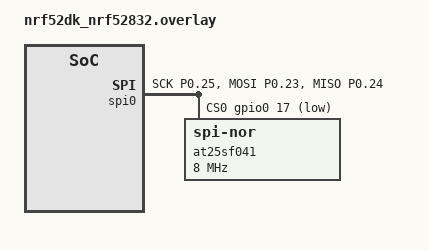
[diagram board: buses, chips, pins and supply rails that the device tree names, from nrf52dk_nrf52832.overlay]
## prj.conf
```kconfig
CONFIG_SERIAL=y
CONFIG_PRINTK=y
CONFIG_SPI=y
CONFIG_FLASH=y
CONFIG_FLASH_PAGE_LAYOUT=y
CONFIG_FLASH_MAP=y
CONFIG_SPI_NOR=y
CONFIG_SPI_NOR_FLASH_LAYOUT_PAGE_SIZE=4096
CONFIG_SOC_NRF52832_ALLOW_SPIM_DESPITE_PAN_58=y
# Debug configurations
CONFIG_SPI_LOG_LEVEL_DBG=y
CONFIG_FLASH_LOG_LEVEL_DBG=y
```

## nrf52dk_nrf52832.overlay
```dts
&pinctrl {
    spi0_default: spi0_default {
        group1 {
            psels = <NRF_PSEL(SPIM_SCK, 0, 25)>,
                    <NRF_PSEL(SPIM_MOSI, 0, 23)>,
                    <NRF_PSEL(SPIM_MISO, 0, 24)>;
        };
    };

    spi0_sleep: spi0_sleep {
        group1 {
            psels = <NRF_PSEL(SPIM_SCK, 0, 25)>,
                    <NRF_PSEL(SPIM_MOSI, 0, 23)>,
                    <NRF_PSEL(SPIM_MISO, 0, 24)>;
            low-power-enable;
        };
    };
};

flash_spi: &spi0 {
    compatible = "nordic,nrf-spim";
    status = "okay";
    pinctrl-0 = <&spi0_default>;
    pinctrl-1 = <&spi0_sleep>;
    pinctrl-names = "default", "sleep";
    cs-gpios = <&gpio0 17 GPIO_ACTIVE_LOW>;

    at25sf041: at25sf041@0 {
        compatible = "jedec,spi-nor";
        status = "okay";
        reg = <0>;
        spi-max-frequency = <8000000>;
        size = <0x80000>;  // 512KB
        jedec-id = [1f 84 01];
    };
};
```

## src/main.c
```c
#include <zephyr/kernel.h>
#include <zephyr/device.h>
#include <zephyr/drivers/flash.h>
#include <zephyr/storage/flash_map.h>
#include <zephyr/drivers/spi.h>
#include <stdio.h>
#include <string.h>

#define TEST_OFFSET     0x1000
#define TEST_BUF_SIZE   32
#define FLASH_SIZE      0x80000    // 512KB
#define SECTOR_SIZE     4096       // 4KB sector size for AT25SF041

static const struct device *flash_dev;
static uint8_t test_data[TEST_BUF_SIZE] = "SPI Flash Test Data!";
static uint8_t read_back[TEST_BUF_SIZE];

static void flash_test(void)
{
    int ret;
    
    /* Initialize buffers */
    memset(read_back, 0, sizeof(read_back));

    /* Verify flash device is ready */
    if (!device_is_ready(flash_dev)) {
        printk("Flash device not ready!\n");
        return;
    }
    printk("Flash device ready\n");

    /* Get flash device info */
    // const struct flash_parameters *flash_params = flash_get_parameters(flash_dev);
    // if (flash_params) {
    //     printk("Flash size: %zu bytes\n", flash_params->size);
    //     printk("Page size: %zu bytes\n", flash_params->page_size);
    // }

    /* Erase sector */
    printk("Erasing sector at offset 0x%x...\n", TEST_OFFSET);
    ret = flash_erase(flash_dev, TEST_OFFSET, SECTOR_SIZE);
    if (ret != 0) {
        printk("Flash erase failed! (err: %d)\n", ret);
        return;
    }
    printk("Sector erased successfully\n");

    /* Write data */
    printk("Writing data to offset 0x%x...\n", TEST_OFFSET);
    ret = flash_write(flash_dev, TEST_OFFSET, test_data, sizeof(test_data));
    if (ret != 0) {
        printk("Flash write failed! (err: %d)\n", ret);
        return;
    }
    printk("Data written successfully\n");

    /* Read data back */
    printk("Reading data from offset 0x%x...\n", TEST_OFFSET);
    ret = flash_read(flash_dev, TEST_OFFSET, read_back, sizeof(read_back));
    if (ret != 0) {
        printk("Flash read failed! (err: %d)\n", ret);
        return;
    }

    /* Verify data */
    if (memcmp(test_data, read_back, sizeof(test_data)) == 0) {
        printk("Data verification successful!\n");
        printk("Read back: %s\n", read_back);
    } else {
        printk("Data verification failed!\n");
        printk("Expected: %s\n", test_data);
        printk("Got: %s\n", read_back);
    }
}

void main(void)
{
    printk("SPI Flash example started\n");

    /* Get flash device */
    flash_dev = DEVICE_DT_GET(DT_NODELABEL(at25sf041));
    
    /* Add initialization delay */
    k_sleep(K_MSEC(100));

    /* Run flash test */
    flash_test();

    printk("Test complete\n");
}
```
